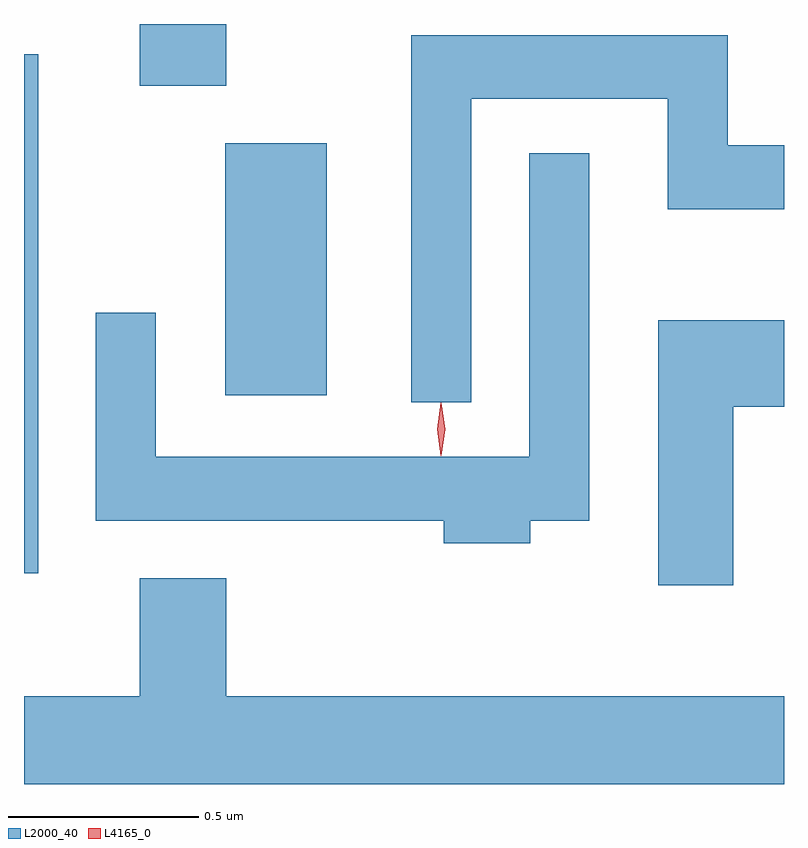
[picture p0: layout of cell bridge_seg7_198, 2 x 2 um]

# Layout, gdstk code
import gdstk
lib = gdstk.Library(unit=1e-6, precision=1e-09)
def R(c, l, rs):  # rectangles x0, y0, x1, y1
    for r in rs: c.add(gdstk.rectangle(r[:2], r[2:], *l))
def P(c, l, *ps):  # polygons
    for p in ps: c.add(gdstk.Polygon(p, *l))
L2000_40 = (2000, 40)
L4165_0 = (4165, 0)

bridge_seg7_198 = lib.new_cell('bridge_seg7_198')
R(bridge_seg7_198, L2000_40, [(1480.877,1703.808,1480.914,1705.174), (1481.406,1704.276,1481.674,1704.939), (1481.181,1705.091,1481.409,1705.253)])
P(bridge_seg7_198, L2000_40, [(1482.054,1705.056),(1482.571,1705.056),(1482.571,1704.766),(1482.877,1704.766),(1482.877,1704.934),(1482.729,1704.934),(1482.729,1705.224),(1481.896,1705.224),(1481.896,1704.258),(1482.054,1704.258)],
  [(1482.209,1703.946),(1482.364,1703.946),(1482.364,1704.913),(1482.206,1704.913),(1482.206,1704.114),(1481.224,1704.114),(1481.224,1704.493),(1481.066,1704.493),(1481.066,1703.946),(1481.981,1703.946),(1481.981,1703.886),(1482.209,1703.886)],
  [(1482.744,1704.246),(1482.877,1704.246),(1482.877,1704.474),(1482.546,1704.474),(1482.546,1703.776),(1482.744,1703.776)],
  [(1482.877,1703.484),(1481.409,1703.484),(1481.409,1703.794),(1481.181,1703.794),(1481.181,1703.484),(1480.877,1703.484),(1480.877,1703.253),(1482.877,1703.253)])
P(bridge_seg7_198, L4165_0, [(1481.974,1704.117),(1481.965,1704.186),(1481.974,1704.256),(1481.975,1704.256),(1481.975,1704.256),(1481.985,1704.186),(1481.975,1704.117),(1481.975,1704.117)])

lib.write_gds('bridge_seg7_198.gds')
